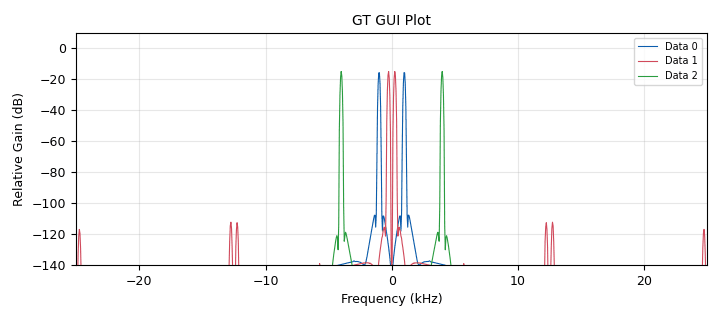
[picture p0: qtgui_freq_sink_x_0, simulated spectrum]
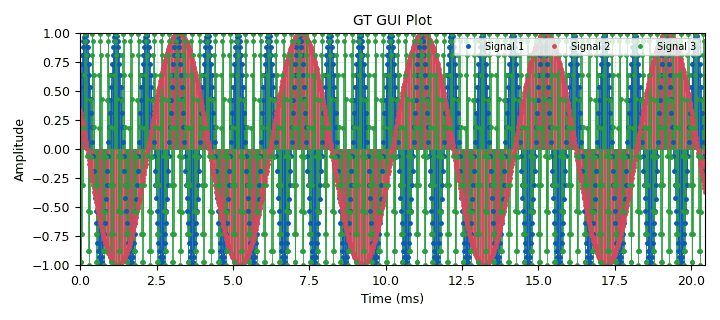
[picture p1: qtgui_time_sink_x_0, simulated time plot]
options:
  parameters:
    author: L1C_G6
    copyright: '2020'
    description: Sample Rate demo
    generate_options: qt_gui
    id: LABCOM1_L1C_G6
    output_language: python
    title: Práctica1
  states: {}

blocks:
- name: samp_rate
  id: variable
  parameters:
    value: '50000'
  states: {}
- name: analog_sig_source_x_0
  id: analog_sig_source_x
  parameters:
    amp: '1'
    freq: '1000'
    offset: '0'
    phase: '0'
    samp_rate: samp_rate
    type: float
    waveform: analog.GR_COS_WAVE
  states: {}
- name: analog_sig_source_x_0_0
  id: analog_sig_source_x
  parameters:
    amp: '1'
    freq: '1000'
    offset: '0'
    phase: '0'
    samp_rate: samp_rate
    type: float
    waveform: analog.GR_COS_WAVE
  states: {}
- name: analog_sig_source_x_0_1
  id: analog_sig_source_x
  parameters:
    amp: '1'
    freq: '1000'
    offset: '0'
    phase: '0'
    samp_rate: samp_rate
    type: float
    waveform: analog.GR_COS_WAVE
  states: {}
- name: blocks_throttle_0
  id: blocks_throttle
  parameters:
    samples_per_second: samp_rate
    type: float
  states: {}
- name: qtgui_freq_sink_x_0
  id: qtgui_freq_sink_x
  parameters:
    bw: samp_rate
    fc: '0'
    fftsize: '1024'
    name: GT GUI Plot
    nconnections: '3'
    type: float
  states: {}
- name: qtgui_time_sink_x_0
  id: qtgui_time_sink_x
  parameters:
    entags: 'False'
    grid: 'True'
    marker1: '0'
    name: GT GUI Plot
    nconnections: '3'
    size: '1024'
    srate: samp_rate
    stemplot: 'True'
    type: float
  states: {}
- name: rational_resampler_xxx_0
  id: rational_resampler_xxx
  parameters:
    decim: '4'
    interp: '1'
    type: fff
  states: {}
- name: rational_resampler_xxx_1
  id: rational_resampler_xxx
  parameters:
    decim: '1'
    interp: '4'
    type: fff
  states: {}
- name: rational_resampler_xxx_2
  id: rational_resampler_xxx
  parameters:
    decim: '1'
    interp: '1'
    type: fff
  states: {}

connections:
- [analog_sig_source_x_0, '0', rational_resampler_xxx_2, '0']
- [analog_sig_source_x_0_0, '0', rational_resampler_xxx_1, '0']
- [analog_sig_source_x_0_1, '0', rational_resampler_xxx_0, '0']
- [blocks_throttle_0, '0', qtgui_freq_sink_x_0, '0']
- [blocks_throttle_0, '0', qtgui_time_sink_x_0, '0']
- [rational_resampler_xxx_0, '0', qtgui_freq_sink_x_0, '2']
- [rational_resampler_xxx_0, '0', qtgui_time_sink_x_0, '2']
- [rational_resampler_xxx_1, '0', qtgui_freq_sink_x_0, '1']
- [rational_resampler_xxx_1, '0', qtgui_time_sink_x_0, '1']
- [rational_resampler_xxx_2, '0', blocks_throttle_0, '0']

metadata:
  file_format: 1
